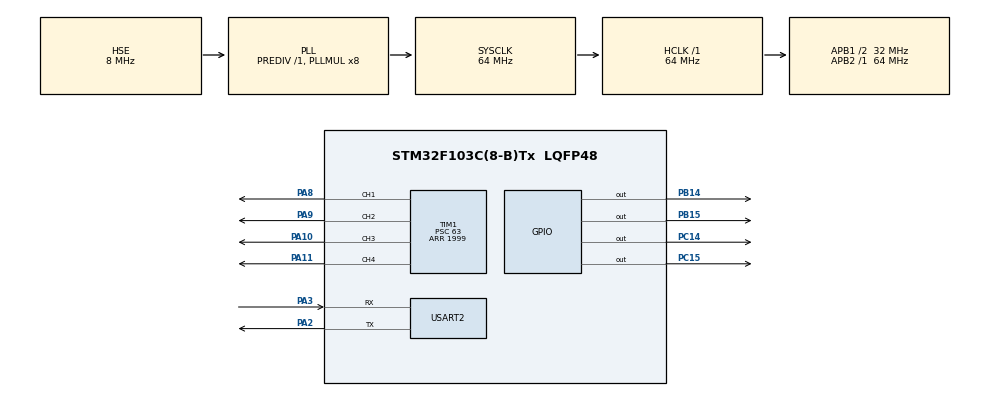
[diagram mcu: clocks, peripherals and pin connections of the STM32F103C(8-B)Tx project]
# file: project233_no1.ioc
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Mcu.Family=STM32F1
Mcu.Name=STM32F103C(8-B)Tx
Mcu.Package=LQFP48
NVIC.PriorityGroup=NVIC_PRIORITYGROUP_4
NVIC.USART2_IRQn=true\:1\:0\:true\:false\:true\:true\:true\:true
PA10.Signal=S_TIM1_CH3
PA11.Signal=S_TIM1_CH4
PA13.Mode=Serial_Wire
PA13.Signal=SYS_JTMS-SWDIO
PA14.Mode=Serial_Wire
PA14.Signal=SYS_JTCK-SWCLK
PA2.Mode=Asynchronous
PA2.Signal=USART2_TX
PA3.Mode=Asynchronous
PA3.Signal=USART2_RX
PA8.Signal=S_TIM1_CH1
PA9.Signal=S_TIM1_CH2
PB14.Signal=GPIO_Output
PB15.Signal=GPIO_Output
PC14-OSC32_IN.Signal=GPIO_Output
PC15-OSC32_OUT.Signal=GPIO_Output
PD0-OSC_IN.Mode=HSE-External-Oscillator
PD0-OSC_IN.Signal=RCC_OSC_IN
PD1-OSC_OUT.Mode=HSE-External-Oscillator
PD1-OSC_OUT.Signal=RCC_OSC_OUT
ProjectManager.HeapSize=0x200
ProjectManager.StackSize=0x400
ProjectManager.TargetToolchain=MDK-ARM V5.32
RCC.AHBFreq_Value=64000000
RCC.APB1CLKDivider=RCC_HCLK_DIV2
RCC.APB1Freq_Value=32000000
RCC.APB1TimFreq_Value=64000000
RCC.APB2Freq_Value=64000000
RCC.APB2TimFreq_Value=64000000
RCC.HCLKFreq_Value=64000000
RCC.PLLMUL=RCC_PLL_MUL8
RCC.PLLSourceVirtual=RCC_PLLSOURCE_HSE
RCC.SYSCLKFreq_VALUE=64000000
RCC.SYSCLKSource=RCC_SYSCLKSOURCE_PLLCLK
RCC.USBFreq_Value=64000000
SH.S_TIM1_CH1.0=TIM1_CH1,PWM Generation1 CH1
SH.S_TIM1_CH2.0=TIM1_CH2,PWM Generation2 CH2
SH.S_TIM1_CH3.0=TIM1_CH3,PWM Generation3 CH3
SH.S_TIM1_CH4.0=TIM1_CH4,PWM Generation4 CH4
TIM1.Channel-PWM\ Generation1\ CH1=TIM_CHANNEL_1
TIM1.Channel-PWM\ Generation2\ CH2=TIM_CHANNEL_2
TIM1.Channel-PWM\ Generation3\ CH3=TIM_CHANNEL_3
TIM1.Channel-PWM\ Generation4\ CH4=TIM_CHANNEL_4
TIM1.Period=1999
TIM1.Prescaler=63
USART2.VirtualMode=VM_ASYNC
VP_TIM1_VS_ClockSourceINT.Mode=Internal
board=custom

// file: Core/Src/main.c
/* USER CODE BEGIN Header */
/**
  ******************************************************************************
  * @file           : main.c
  * @brief          : Main program body
  ******************************************************************************
  * @attention
  *
  * Copyright (c) 2024 STMicroelectronics.
  * All rights reserved.
  *
  * This software is licensed under terms that can be found in the LICENSE file
  * in the root directory of this software component.
  * If no LICENSE file comes with this software, it is provided AS-IS.
  *
  ******************************************************************************
  */
/* USER CODE END Header */
#include "main.h"

/* USER CODE BEGIN Includes */
#include "PWM.h"
#include <string.h>
#include <math.h>
#include "motor.h"
#include "cmd.h"
/* USER CODE END Includes */

TIM_HandleTypeDef htim1;

UART_HandleTypeDef huart2;

void SystemClock_Config(void);
static void MX_GPIO_Init(void);
static void MX_TIM1_Init(void);
static void MX_USART2_UART_Init(void);

/* USER CODE BEGIN 0 */
char data_rx;
uint16_t PWM = 0;
// 4 motors: Front Left/Right, Rear Left/Right
Motor MF_L; Motor MF_R; Motor MR_L; Motor MR_R;

// Change PWM for each motor
void Motor_SetPWM(Motor motor, uint8_t pwm) {
    PWMdutyChange(&htim1, motor.PWM_Channel, pwm);
}

#define BUFFER_SIZE 10

char rxBuffer[BUFFER_SIZE];
char dataBuffer[BUFFER_SIZE]; //this is the data we get from Bluetooth to handle
uint16_t rxIndex = 0;

void HAL_UART_RxCpltCallback(UART_HandleTypeDef *huart)
{
    if (huart->Instance == USART2)
    {
        // Copy received data to dataBuffer
        dataBuffer[rxIndex++] = rxBuffer[0];

        // Check for end of string
        if (rxBuffer[0] == '\n')
        {
            dataBuffer[rxIndex - 1] = '\0'; // Replace '\n' with null terminator
            dataHandle(dataBuffer); // Handle the received data
            memset(dataBuffer, 0, rxIndex); // Clear the dataBuffer
            rxIndex = 0; // Reset the index
        }

        // Continue to receive data
        HAL_UART_Receive_IT(&huart2, (uint8_t*)rxBuffer, 1);
    }
}
/* USER CODE END 0 */

int main(void)
{

  /* USER CODE BEGIN 1 */
	uint8_t reset = 0;
	uint32_t currentTime = 0;
  /* USER CODE END 1 */

  /* MCU Configuration--------------------------------------------------------*/

  /* Reset of all peripherals, Initializes the Flash interface and the Systick. */
  HAL_Init();

  /* Configure the system clock */
  SystemClock_Config();

  /* Initialize all configured peripherals */
  MX_GPIO_Init();
  MX_TIM1_Init();
  MX_USART2_UART_Init();
  /* USER CODE BEGIN 2 */
	//initial 4 motors
	Motor_Init(&MF_L, TIM_CHANNEL_1, GPIOA, GPIO_PIN_8, GPIOB, GPIO_PIN_14);
	Motor_Init(&MF_R, TIM_CHANNEL_2, GPIOA, GPIO_PIN_9, GPIOB, GPIO_PIN_15);
	Motor_Init(&MR_L, TIM_CHANNEL_3, GPIOA, GPIO_PIN_10, GPIOC, GPIO_PIN_14);
	Motor_Init(&MR_R, TIM_CHANNEL_4, GPIOA, GPIO_PIN_11, GPIOC, GPIO_PIN_15);
	// clear dataBuffer
	memset(dataBuffer, 0, rxIndex);
	// interrupt, go to Callback
	HAL_UART_Receive_IT(&huart2,(uint8_t *)&data_rx,1);
  /* USER CODE END 2 */

  /* Infinite loop */
  while (1)
  {

	}
}

void SystemClock_Config(void)
{
  RCC_OscInitTypeDef RCC_OscInitStruct = {0};
  RCC_ClkInitTypeDef RCC_ClkInitStruct = {0};

  /** Initializes the RCC Oscillators according to the specified parameters
  * in the RCC_OscInitTypeDef structure.
  */
  RCC_OscInitStruct.OscillatorType = RCC_OSCILLATORTYPE_HSE;
  RCC_OscInitStruct.HSEState = RCC_HSE_ON;
  RCC_OscInitStruct.HSEPredivValue = RCC_HSE_PREDIV_DIV1;
  RCC_OscInitStruct.HSIState = RCC_HSI_ON;
  RCC_OscInitStruct.PLL.PLLState = RCC_PLL_ON;
  RCC_OscInitStruct.PLL.PLLSource = RCC_PLLSOURCE_HSE;
  RCC_OscInitStruct.PLL.PLLMUL = RCC_PLL_MUL8;
  if (HAL_RCC_OscConfig(&RCC_OscInitStruct) != HAL_OK)
  {
    Error_Handler();
  }

  /** Initializes the CPU, AHB and APB buses clocks
  */
  RCC_ClkInitStruct.ClockType = RCC_CLOCKTYPE_HCLK|RCC_CLOCKTYPE_SYSCLK
                              |RCC_CLOCKTYPE_PCLK1|RCC_CLOCKTYPE_PCLK2;
  RCC_ClkInitStruct.SYSCLKSource = RCC_SYSCLKSOURCE_PLLCLK;
  RCC_ClkInitStruct.AHBCLKDivider = RCC_SYSCLK_DIV1;
  RCC_ClkInitStruct.APB1CLKDivider = RCC_HCLK_DIV2;
  RCC_ClkInitStruct.APB2CLKDivider = RCC_HCLK_DIV1;

  if (HAL_RCC_ClockConfig(&RCC_ClkInitStruct, FLASH_LATENCY_2) != HAL_OK)
  {
    Error_Handler();
  }
}

static void MX_TIM1_Init(void)
{

  TIM_ClockConfigTypeDef sClockSourceConfig = {0};
  TIM_MasterConfigTypeDef sMasterConfig = {0};
  TIM_OC_InitTypeDef sConfigOC = {0};
  TIM_BreakDeadTimeConfigTypeDef sBreakDeadTimeConfig = {0};

  htim1.Instance = TIM1;
  htim1.Init.Prescaler = 63;
  htim1.Init.CounterMode = TIM_COUNTERMODE_UP;
  htim1.Init.Period = 1999;
  htim1.Init.ClockDivision = TIM_CLOCKDIVISION_DIV1;
  htim1.Init.RepetitionCounter = 0;
  htim1.Init.AutoReloadPreload = TIM_AUTORELOAD_PRELOAD_DISABLE;
  if (HAL_TIM_Base_Init(&htim1) != HAL_OK)
  {
    Error_Handler();
  }
  sClockSourceConfig.ClockSource = TIM_CLOCKSOURCE_INTERNAL;
  if (HAL_TIM_ConfigClockSource(&htim1, &sClockSourceConfig) != HAL_OK)
  {
    Error_Handler();
  }
  if (HAL_TIM_PWM_Init(&htim1) != HAL_OK)
  {
    Error_Handler();
  }
  sMasterConfig.MasterOutputTrigger = TIM_TRGO_RESET;
  sMasterConfig.MasterSlaveMode = TIM_MASTERSLAVEMODE_DISABLE;
  if (HAL_TIMEx_MasterConfigSynchronization(&htim1, &sMasterConfig) != HAL_OK)
  {
    Error_Handler();
  }
  sConfigOC.OCMode = TIM_OCMODE_PWM1;
  sConfigOC.Pulse = 0;
  sConfigOC.OCPolarity = TIM_OCPOLARITY_HIGH;
  sConfigOC.OCNPolarity = TIM_OCNPOLARITY_HIGH;
  sConfigOC.OCFastMode = TIM_OCFAST_DISABLE;
  sConfigOC.OCIdleState = TIM_OCIDLESTATE_RESET;
  sConfigOC.OCNIdleState = TIM_OCNIDLESTATE_RESET;
  if (HAL_TIM_PWM_ConfigChannel(&htim1, &sConfigOC, TIM_CHANNEL_1) != HAL_OK)
  {
    Error_Handler();
  }
  if (HAL_TIM_PWM_ConfigChannel(&htim1, &sConfigOC, TIM_CHANNEL_2) != HAL_OK)
  {
    Error_Handler();
  }
  if (HAL_TIM_PWM_ConfigChannel(&htim1, &sConfigOC, TIM_CHANNEL_3) != HAL_OK)
  {
    Error_Handler();
  }
  if (HAL_TIM_PWM_ConfigChannel(&htim1, &sConfigOC, TIM_CHANNEL_4) != HAL_OK)
  {
    Error_Handler();
  }
  sBreakDeadTimeConfig.OffStateRunMode = TIM_OSSR_DISABLE;
  sBreakDeadTimeConfig.OffStateIDLEMode = TIM_OSSI_DISABLE;
  sBreakDeadTimeConfig.LockLevel = TIM_LOCKLEVEL_OFF;
  sBreakDeadTimeConfig.DeadTime = 0;
  sBreakDeadTimeConfig.BreakState = TIM_BREAK_DISABLE;
  sBreakDeadTimeConfig.BreakPolarity = TIM_BREAKPOLARITY_HIGH;
  sBreakDeadTimeConfig.AutomaticOutput = TIM_AUTOMATICOUTPUT_DISABLE;
  if (HAL_TIMEx_ConfigBreakDeadTime(&htim1, &sBreakDeadTimeConfig) != HAL_OK)
  {
    Error_Handler();
  }
  HAL_TIM_MspPostInit(&htim1);

}

static void MX_USART2_UART_Init(void)
{

  huart2.Instance = USART2;
  huart2.Init.BaudRate = 115200;
  huart2.Init.WordLength = UART_WORDLENGTH_8B;
  huart2.Init.StopBits = UART_STOPBITS_1;
  huart2.Init.Parity = UART_PARITY_NONE;
  huart2.Init.Mode = UART_MODE_TX_RX;
  huart2.Init.HwFlowCtl = UART_HWCONTROL_NONE;
  huart2.Init.OverSampling = UART_OVERSAMPLING_16;
  if (HAL_UART_Init(&huart2) != HAL_OK)
  {
    Error_Handler();
  }

}

static void MX_GPIO_Init(void)
{
  GPIO_InitTypeDef GPIO_InitStruct = {0};

  /* GPIO Ports Clock Enable */
  __HAL_RCC_GPIOC_CLK_ENABLE();
  __HAL_RCC_GPIOD_CLK_ENABLE();
  __HAL_RCC_GPIOA_CLK_ENABLE();
  __HAL_RCC_GPIOB_CLK_ENABLE();

  /*Configure GPIO pin Output Level */
  HAL_GPIO_WritePin(GPIOC, GPIO_PIN_14|GPIO_PIN_15, GPIO_PIN_RESET);

  /*Configure GPIO pin Output Level */
  HAL_GPIO_WritePin(GPIOB, GPIO_PIN_14|GPIO_PIN_15, GPIO_PIN_RESET);

  /*Configure GPIO pins : PC14 PC15 */
  GPIO_InitStruct.Pin = GPIO_PIN_14|GPIO_PIN_15;
  GPIO_InitStruct.Mode = GPIO_MODE_OUTPUT_PP;
  GPIO_InitStruct.Pull = GPIO_NOPULL;
  GPIO_InitStruct.Speed = GPIO_SPEED_FREQ_LOW;
  HAL_GPIO_Init(GPIOC, &GPIO_InitStruct);

  /*Configure GPIO pins : PB14 PB15 */
  GPIO_InitStruct.Pin = GPIO_PIN_14|GPIO_PIN_15;
  GPIO_InitStruct.Mode = GPIO_MODE_OUTPUT_PP;
  GPIO_InitStruct.Pull = GPIO_NOPULL;
  GPIO_InitStruct.Speed = GPIO_SPEED_FREQ_LOW;
  HAL_GPIO_Init(GPIOB, &GPIO_InitStruct);

}

void Error_Handler(void)
{
  __disable_irq();
  while (1)
  {
  }
}
